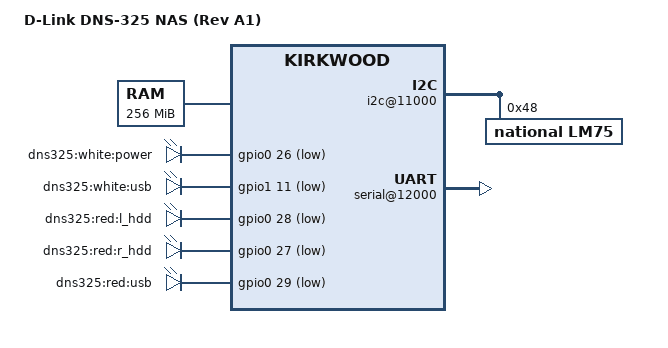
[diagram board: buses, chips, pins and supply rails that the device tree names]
/dts-v1/;

#include "kirkwood-dnskw.dtsi"

/ {
	model = "D-Link DNS-325 NAS (Rev A1)";
	compatible = "dlink,dns-325-a1", "dlink,dns-325", "dlink,dns-kirkwood", "marvell,kirkwood-88f6281", "marvell,kirkwood";

	memory {
		device_type = "memory";
		reg = <0x00000000 0x10000000>;
	};

	chosen {
		bootargs = "console=ttyS0,115200n8 earlyprintk";
	};

	gpio-leds {
		compatible = "gpio-leds";
		pinctrl-0 = <&pmx_led_power &pmx_led_red_usb_325
			     &pmx_led_red_left_hdd &pmx_led_red_right_hdd
			     &pmx_led_white_usb>;
		pinctrl-names = "default";

		white-power {
			label = "dns325:white:power";
			gpios = <&gpio0 26 1>; /* GPIO 26 Active Low */
			linux,default-trigger = "default-on";
		};
		white-usb {
			label = "dns325:white:usb";
			gpios = <&gpio1 11 1>; /* GPIO 43 Active Low */
		};
		red-l_hdd {
			label = "dns325:red:l_hdd";
			gpios = <&gpio0 28 1>; /* GPIO 28 Active Low */
		};
		red-r_hdd {
			label = "dns325:red:r_hdd";
			gpios = <&gpio0 27 1>; /* GPIO 27 Active Low */
		};
		red-usb {
			label = "dns325:red:usb";
			gpios = <&gpio0 29 1>; /* GPIO 29 Active Low */
		};
	};

	ocp@f1000000 {
		i2c@11000 {
			status = "okay";

			lm75: lm75@48 {
				compatible = "national,lm75";
				reg = <0x48>;
			};
		};
		serial@12000 {
			status = "okay";
		};
	};
};
